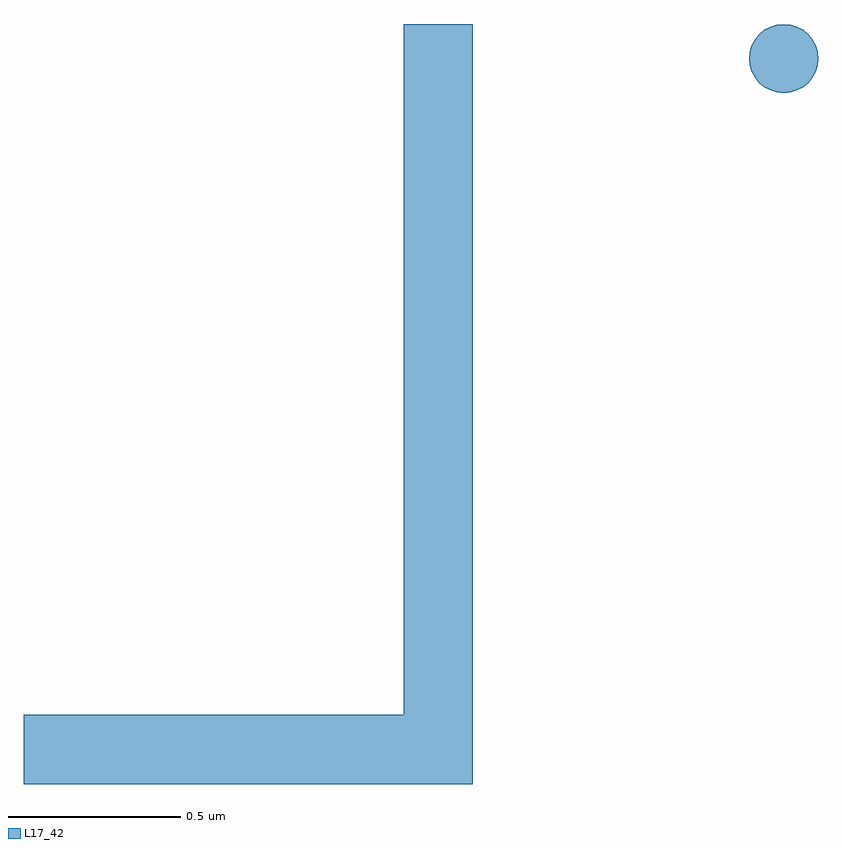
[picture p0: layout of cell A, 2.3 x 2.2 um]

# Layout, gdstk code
import gdstk
lib = gdstk.Library(unit=1e-6, precision=1e-09)
def P(c, l, *ps):  # polygons
    for p in ps: c.add(gdstk.Polygon(p, *l))
L17_42 = (17, 42)

c_a = lib.new_cell('A')
P(c_a, L17_42, [(2.1,2),(2.098,2.02),(2.092,2.038),(2.083,2.056),(2.071,2.071),(2.056,2.083),(2.038,2.092),(2.02,2.098),(2,2.1),(1.98,2.098),(1.962,2.092),(1.944,2.083),(1.929,2.071),(1.917,2.056),(1.908,2.038),(1.902,2.02),(1.9,2),(1.902,1.98),(1.908,1.962),(1.917,1.944),(1.929,1.929),(1.944,1.917),(1.962,1.908),(1.98,1.902),(2,1.9),(2.02,1.902),(2.038,1.908),(2.056,1.917),(2.071,1.929),(2.083,1.944),(2.092,1.962),(2.098,1.98)],
  [(0.1,0),(0.098,0.02),(0.092,0.038),(0.083,0.056),(0.071,0.071),(0.056,0.083),(0.038,0.092),(0.02,0.098),(0,0.1),(-0.02,0.098),(-0.038,0.092),(-0.056,0.083),(-0.071,0.071),(-0.083,0.056),(-0.092,0.038),(-0.098,0.02),(-0.1,0),(-0.098,-0.02),(-0.092,-0.038),(-0.083,-0.056),(-0.071,-0.071),(-0.056,-0.083),(-0.038,-0.092),(-0.02,-0.098),(0,-0.1),(0.02,-0.098),(0.038,-0.092),(0.056,-0.083),(0.071,-0.071),(0.083,-0.056),(0.092,-0.038),(0.098,-0.02)],
  [(1.1,2),(1.098,2.02),(1.092,2.038),(1.083,2.056),(1.071,2.071),(1.056,2.083),(1.038,2.092),(1.02,2.098),(1,2.1),(0.98,2.098),(0.962,2.092),(0.944,2.083),(0.929,2.071),(0.917,2.056),(0.908,2.038),(0.902,2.02),(0.9,2),(0.902,1.98),(0.908,1.962),(0.917,1.944),(0.929,1.929),(0.944,1.917),(0.962,1.908),(0.98,1.902),(1,1.9),(1.02,1.902),(1.038,1.908),(1.056,1.917),(1.071,1.929),(1.083,1.944),(1.092,1.962),(1.098,1.98)])
c_a.add(gdstk.FlexPath([(0,0),(1,0),(1,2)], 0.2, ends="extended", simple_path=True, layer=17, datatype=42))  # L17_42
c_a.add(gdstk.FlexPath([(0,0),(1,0),(1,2)], 0.2, ends="flush", simple_path=True, layer=17, datatype=42))  # L17_42
c_a.add(gdstk.FlexPath([(0,0),(1,0),(1,2)], 0.2, ends="flush", simple_path=True, layer=17, datatype=42))  # L17_42
c_a.add(gdstk.FlexPath([(0,0),(1,0),(1,2)], 0.2, ends=(0.2, 0.05), simple_path=True, layer=17, datatype=42))  # L17_42

lib.write_gds('A.gds')
